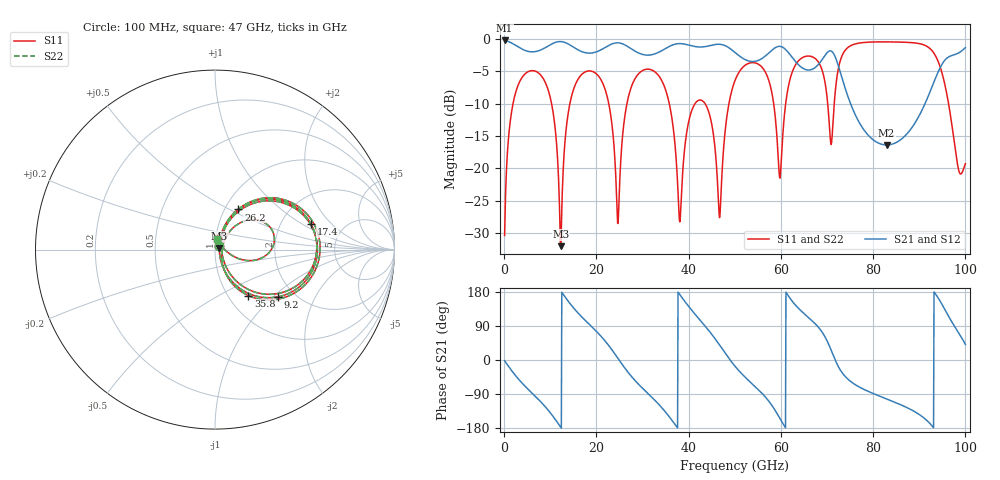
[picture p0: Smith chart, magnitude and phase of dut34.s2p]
! Touchstone file exported from HFSS 2026.1.0
!  File:  C:/ffzhzh/LocalFiles/Ansys_Project_Files/temp_train_TSV_RDL_34_1783441268_50928.aedt
!  Generated:  12:57:47 AM Jul  8, 2026
!  Design:  TSV_RDL
!  Project:  temp_train_TSV_RDL_34_1783441268_50928
! Variables:
!  h_bsmrdl = 4.08um
!  h_ox = 20um
!  h_rdl = 5um
!  h_sub = 90.5um
!  h_tmrdl = 2.34um
!  h_tsv = 90.5um
!  h_via = 3um
!  l_bsmrdl = 686.06um
!  l_sub = 4730.52um
!  l_tmrdl = 535.1um
!  m_sub = 200um
!  pitch = 58.33um
!  r_tsv = 12.13um
!  s_tmrdl = 10um
!  w_bsmrdl = 19.64um
!  w_sub = 500um
!  w_tmrdl = 24.34um
!  x_tsv_center1 = 547.27um
!  x_tsv_center2 = 1252.97um
!  x_tsv_center3 = 1812.41um
!  x_tsv_center4 = 2518.11um
!  x_tsv_center5 = 3077.55um
!  x_tsv_center6 = 3783.25um
# GHz S MA R 50.000000
! Terminal data exported
! Port[1] = TM_RDL1_1_T1
! Port[2] = TM_RDL5_1_T1
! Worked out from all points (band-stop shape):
!   1000 points, 100 MHz to 100 GHz, reference 50 ohm
!   highest |S21| = -0.21 dB at 100 MHz (marker M1); lowest = -16.4 dB at 82.9 GHz (marker M2)
!   |S21| within 3 dB of the highest: start of sweep to 52.36 GHz; 55.38 GHz to 62.87 GHz (7.487 GHz wide, 12.7 % of centre) (the widest 2 of 4)
!   lowest |S11| = -32.0 dB at 12.3 GHz (marker M3), VSWR 1.05, Z = 52.4 + j0.845 ohm
!   |S11| at or under -10 dB: 10.29 GHz to 14.25 GHz (3.958 GHz wide, 32.3 % of centre); 35.81 GHz to 41.36 GHz (5.556 GHz wide, 14.4 % of centre); 43.58 GHz to 48.73 GHz (5.149 GHz wide, 11.2 % of centre) (the widest 3 of 8)
!   |S22| runs from -32.0 to -0.4 dB; largest |S21 - S12| = 6.3e-11
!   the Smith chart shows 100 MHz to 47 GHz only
!   S11 on the Smith chart (normalised r, x): 100 MHz: 1.05, +0.04; 9.2 GHz: 1.64, -1.07; 17.4 GHz: 2.92, +1.21; 26.2 GHz: 1.16, +0.55; 35.8 GHz: 1.24, -0.71; 47 GHz: 1.02, +0.12
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0.1  0.03029 38.1  0.9766 -1.8  0.9766 -1.8  0.03029 38.1
! Gamma 0 0 0 0
! Port Impedance 50 0 50 0
2.8  0.4187 40.4  0.8809 -46.0  0.8809 -46.0  0.4187 40.4
9.2  0.438 -36.9  0.8704 -127.3  0.8704 -127.3  0.438 -36.9
12.3  0.02504 18.8  0.9574 -177.8  0.9574 -177.8  0.02514 18.7
16.8  0.5322 22.0  0.8016 114.0  0.8016 114.0  0.5322 22.0
17.4  0.5533 15.1  0.7885 106.7  0.7885 106.7  0.5533 15.0
24.6  0.03784 -10.1  0.9367 5.6  0.9367 5.6  0.03747 -10.3
26.2  0.2587 59.7  0.9013 -21.9  0.9013 -21.9  0.2586 59.8
33.4  0.527 -24.1  0.7881 -115.4  0.7881 -115.4  0.527 -24.1
35.8  0.3172 -54.0  0.8781 -149.7  0.8781 -149.7  0.3172 -53.9
38.1  0.03862 -2.0  0.9237 172.2  0.9237 172.2  0.03904 -2.1
41.8  0.3301 22.6  0.8721 114.9  0.8721 114.9  0.3302 22.5
47  0.06143 78.9  0.9102 34.3  0.9102 34.3  0.06066 79.5
50.1  0.4837 67.8  0.7858 -17.1  0.7858 -17.1  0.4835 67.9
57.1  0.5112 -9.3  0.7655 -104.3  0.7655 -104.3  0.5112 -9.4
60.3  0.1569 72.2  0.8686 -164.9  0.8686 -164.9  0.1559 72.7
66.7  0.7324 14.7  0.5825 104.2  0.5825 104.2  0.7324 14.8
71.3  0.2286 60.5  0.7853 13.7  0.7853 13.7  0.2288 60.4
82.9  0.9521 -12.7  0.1519 -102.6  0.1519 -102.6  0.9521 -12.7
83.4  0.9518 -14.8  0.1522 -105.0  0.1522 -105.0  0.9517 -14.9
94.8  0.5676 -104.9  0.6273 149.6  0.6273 149.6  0.567 -105.1
100  0.1088 -48.9  0.8598 41.0  0.8598 41.0  0.1086 -49.2
